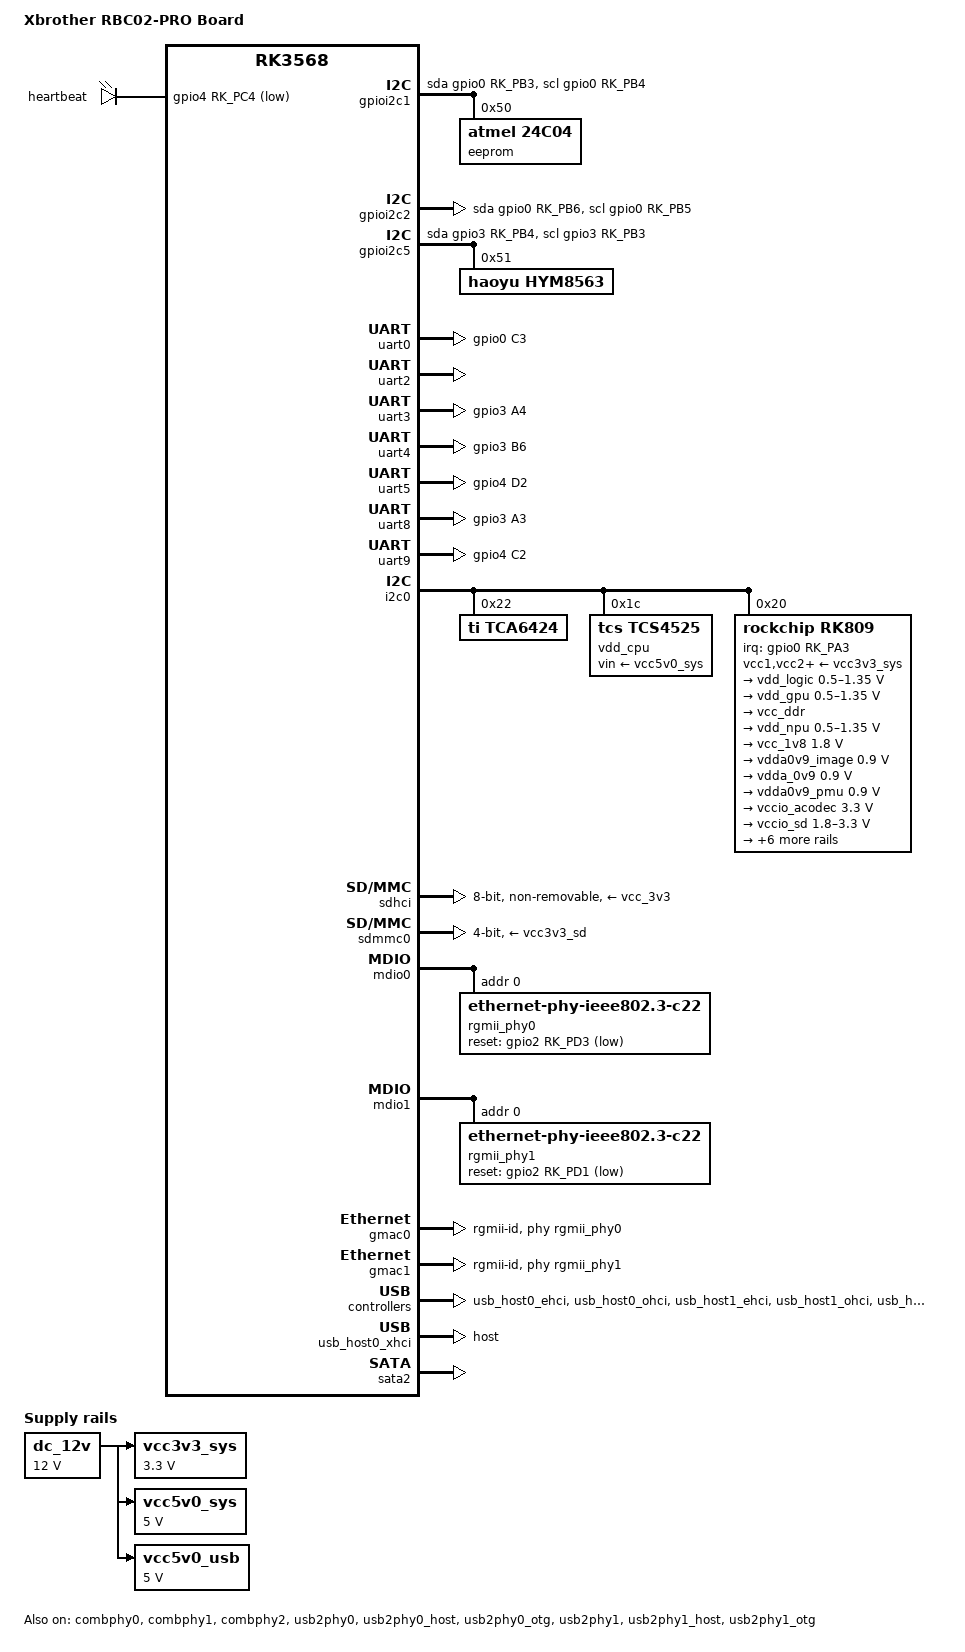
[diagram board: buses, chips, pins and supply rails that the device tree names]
// SPDX-License-Identifier: (GPL-2.0+ OR MIT)
/*
 * Copyright (c) 2021 Rockchip Electronics Co., Ltd.
 *
 */

/dts-v1/;
#include <dt-bindings/gpio/gpio.h>
#include <dt-bindings/leds/common.h>
#include <dt-bindings/pinctrl/rockchip.h>
#include <dt-bindings/soc/rockchip,vop2.h>
#include "rk3568.dtsi"

/ {
	model = "Xbrother RBC02-PRO Board";
	compatible = "xbrother,rbc02-pro", "rockchip,rk3568";

	aliases {
		/delete-property/ serial0;
		/delete-property/ serial1;
		/delete-property/ serial2;
		/delete-property/ serial3;
		/delete-property/ serial4;
		/delete-property/ serial5;
		/delete-property/ serial6;
		/delete-property/ serial7;
		/delete-property/ serial8;
		/delete-property/ serial9;
		/delete-property/ i2c1;
		/delete-property/ i2c2;
		/delete-property/ i2c3;
		/delete-property/ i2c4;
		/delete-property/ i2c5;
		/delete-property/ spi0;
		/delete-property/ spi1;
		/delete-property/ spi2;
		/delete-property/ spi3;
		serial0 = &uart2;
		serial1 = &uart0;
		serial2 = &uart3;
		serial3 = &uart4;
		serial4 = &uart5;
		serial5 = &uart8;
		serial6 = &uart9;
		ethernet0 = &gmac1;
		ethernet1 = &gmac0;
		mmc0 = &sdhci;
		mmc1 = &sdmmc0;
		usb1 = &usb_host0_ehci;
		usb2 = &usb_host1_ehci;
		usb3 = &usb_host0_ohci;
		usb4 = &usb_host1_ohci;
		usb7 = &usb_host0_xhci;
		usb5 = &usb_host1_xhci;
		i2c1 = &gpioi2c1;
		i2c2 = &gpioi2c2;
		i2c5 = &gpioi2c5;
	};

	chosen: chosen {
		stdout-path = "serial0:115200n8";
	};

	dc_12v: dc-12v {
		compatible = "regulator-fixed";
		regulator-name = "dc_12v";
		regulator-always-on;
		regulator-boot-on;
		regulator-min-microvolt = <12000000>;
		regulator-max-microvolt = <12000000>;
	};

	leds {
		compatible = "gpio-leds";
		heartbeat: heartbeat {
			label = "heartbeat";
			gpios = <&gpio4 RK_PC4 GPIO_ACTIVE_LOW>;
			linux,default-trigger = "heartbeat";
		};
	};

	xbrother_gpio {
		compatible = "xbrother,gpio";
		#size-cells = <0>;
		sys_name = "xbrother";
		di08 {
			label = "di08";
			gpios = <&tca6424 0 GPIO_ACTIVE_LOW>;
			direction = "input";
		};
		di07 {
			label = "di07";
			gpios = <&tca6424 1 GPIO_ACTIVE_LOW>;
			direction = "input";
		};
		di06 {
			label = "di06";
			gpios = <&tca6424 2 GPIO_ACTIVE_LOW>;
			direction = "input";
		};
		di05 {
			label = "di05";
			gpios = <&tca6424 3 GPIO_ACTIVE_LOW>;
			direction = "input";
		};
		di04 {
			label = "di04";
			gpios = <&tca6424 4 GPIO_ACTIVE_LOW>;
			direction = "input";
		};
		di03 {
			label = "di03";
			gpios = <&tca6424 5 GPIO_ACTIVE_LOW>;
			direction = "input";
		};
		di02 {
			label = "di02";
			gpios = <&tca6424 6 GPIO_ACTIVE_LOW>;
			direction = "input";
		};
		di01 {
			label = "di01";
			gpios = <&tca6424 7 GPIO_ACTIVE_LOW>;
			direction = "input";
		};
		do01 {
			label = "do01";
			gpios = <&tca6424 8 GPIO_ACTIVE_HIGH>;
			direction = "low";
		};
		do02 {
			label= "do02";
			gpios = <&tca6424 9 GPIO_ACTIVE_HIGH>;
			direction = "low";
		};
		e2wp {
			label = "e2wp";
			gpios = <&gpio1 0 GPIO_ACTIVE_HIGH>;
			direction = "high";
		};
		12va-ctl {
			label = "12va-ctl";
			gpios = <&gpio1 8 GPIO_ACTIVE_LOW>;
			direction = "low";
		};
		12vb-ctl {
			label = "12vb-ctl";
			gpios = <&gpio1 10 GPIO_ACTIVE_LOW>;
			direction = "low";
		};
		12va-det {
			label = "12va-det";
			gpios = <&gpio3 5 GPIO_ACTIVE_HIGH>;
			direction = "input";
		};
		12vb-det {
			label = "12vb-det";
			gpios = <&gpio3 6 GPIO_ACTIVE_HIGH>;
			direction = "input";
		};
		12v-det {
			label = "12v-det";
			gpios = <&gpio3 7 GPIO_ACTIVE_HIGH>;
			direction = "input";
		};
		fan {
			label = "fan";
			gpios = <&gpio0 29 GPIO_ACTIVE_HIGH>;
			direction = "low";
		};
	};

	gpioi2c1: i2c-1 {
		status = "okay";
		compatible = "i2c-gpio";
		sda-gpios = <&gpio0 RK_PB3 GPIO_ACTIVE_HIGH>;
		scl-gpios = <&gpio0 RK_PB4 GPIO_ACTIVE_HIGH >;
		pinctrl-names = "default";
		pinctrl-0 = <&i2c1_xfer>;
		i2c-gpio,delay-us = <5>;	/* ~100 kHz */
		#address-cells = <1>;
		#size-cells = <0>;

		eeprom@50 {
			compatible = "atmel,24c04";
			reg = <0x50>;
			pagesize = <16>;
		};
	};

	gpioi2c2: i2c-2 {
		status = "okay";
		compatible = "i2c-gpio";
		sda-gpios = <&gpio0 RK_PB6 GPIO_ACTIVE_HIGH>;
		scl-gpios = <&gpio0 RK_PB5 GPIO_ACTIVE_HIGH>;
		pinctrl-names = "default";
		pinctrl-0 = <&i2c2m0_xfer>;
		i2c-gpio,delay-us = <5>;	/* ~100 kHz */
		#address-cells = <1>;
		#size-cells = <0>;
	};

	gpioi2c5: i2c-5 {
		status = "okay";
		compatible = "i2c-gpio";
		sda-gpios = <&gpio3 RK_PB4 GPIO_ACTIVE_HIGH>;
		scl-gpios = <&gpio3 RK_PB3 GPIO_ACTIVE_HIGH>;
		pinctrl-names = "default";
		pinctrl-0 = <&i2c5m0_xfer>;
		i2c-gpio,delay-us = <5>;	/* ~100 kHz */
		#address-cells = <1>;
		#size-cells = <0>;
		hym8563: hym8563@51 {
			compatible = "haoyu,hym8563";
			reg = <0x51>;
		};
	};

	vcc3v3_sys: vcc3v3-sys {
		compatible = "regulator-fixed";
		regulator-name = "vcc3v3_sys";
		regulator-always-on;
		regulator-boot-on;
		regulator-min-microvolt = <3300000>;
		regulator-max-microvolt = <3300000>;
		vin-supply = <&dc_12v>;
	};

	vcc5v0_sys: vcc5v0-sys {
		compatible = "regulator-fixed";
		regulator-name = "vcc5v0_sys";
		regulator-always-on;
		regulator-boot-on;
		regulator-min-microvolt = <5000000>;
		regulator-max-microvolt = <5000000>;
		vin-supply = <&dc_12v>;
	};

	vcc5v0_usb: vcc5v0-usb {
		compatible = "regulator-fixed";
		regulator-name = "vcc5v0_usb";
		regulator-always-on;
		regulator-boot-on;
		regulator-min-microvolt = <5000000>;
		regulator-max-microvolt = <5000000>;
		vin-supply = <&dc_12v>;
	};

	
};


/delete-node/ &pdm;
/delete-node/ &spdif;
/delete-node/ &i2c3;
/delete-node/ &i2c4;
/delete-node/ &sfc;
/delete-node/ &i2s0_8ch;
/delete-node/ &i2s1_8ch;
/delete-node/ &i2s2_2ch;
/delete-node/ &i2s3_2ch;
/delete-node/ &spi0;
/delete-node/ &spi1;
/delete-node/ &spi2;
/delete-node/ &spi3;
/delete-node/ &can0;
/delete-node/ &can1;
/delete-node/ &can2;
/delete-node/ &hdmi_sound;
/delete-node/ &hdmi;
/delete-node/ &pcie2x1;
/delete-node/ &pcie3x1;
/delete-node/ &pcie3x2;
/delete-node/ &pwm0;
/delete-node/ &pwm1;
/delete-node/ &pwm2;
/delete-node/ &pwm3;
/delete-node/ &pwm4;
/delete-node/ &pwm5;
/delete-node/ &pwm6;
/delete-node/ &pwm7;
/delete-node/ &pwm8;
/delete-node/ &pwm9;
/delete-node/ &pwm10;
/delete-node/ &pwm11;
/delete-node/ &pwm12;
/delete-node/ &pwm13;
/delete-node/ &pwm14;
/delete-node/ &pwm15;


&scmi {
	status = "disabled";
};


&cpu0 {
	cpu-supply = <&vdd_cpu>;
};

&cpu1 {
	cpu-supply = <&vdd_cpu>;
};

&cpu2 {
	cpu-supply = <&vdd_cpu>;
};

&cpu3 {
	cpu-supply = <&vdd_cpu>;
};

&uart0 {
	status = "okay";
	pinctrl-0 = <&uart0_xfer &com1_de>;
	rs485-term-gpios = <&gpio0 RK_PC3 GPIO_ACTIVE_HIGH>;
	rs485-rx-during-tx;
	linux,rs485-enabled-at-boot-time;
};

&uart2 {
	status = "okay";
};

&uart3 {
	status = "okay";
	pinctrl-0 = <&uart3m1_xfer &com2_de>;
	rs485-term-gpios = <&gpio3 RK_PA4 GPIO_ACTIVE_HIGH>;
	rs485-rx-during-tx;
	linux,rs485-enabled-at-boot-time;
};

&uart4 {
	status = "okay";
	pinctrl-0 = <&uart4m1_xfer &com3_de>;
	rs485-term-gpios = <&gpio3 RK_PB6 GPIO_ACTIVE_HIGH>;
	rs485-rx-during-tx;
	linux,rs485-enabled-at-boot-time;
};

&uart5 {
	status = "okay";
	pinctrl-0 = <&uart5m1_xfer &com4_de>;
	rs485-term-gpios = <&gpio4 RK_PD2 GPIO_ACTIVE_HIGH>;
	rs485-rx-during-tx;
	linux,rs485-enabled-at-boot-time;
};

&uart8 {
	status = "okay";
	pinctrl-0 = <&uart8m1_xfer &com5_de>;
	rs485-term-gpios = <&gpio3 RK_PA3 GPIO_ACTIVE_HIGH>;
	rs485-rx-during-tx;
	linux,rs485-enabled-at-boot-time;
};

&uart9 {
	status = "okay";
	pinctrl-0 = <&uart9m1_xfer &com6_de>;
	rs485-term-gpios = <&gpio4 RK_PC2 GPIO_ACTIVE_HIGH>;
	rs485-rx-during-tx;
	linux,rs485-enabled-at-boot-time;
};



&i2c0 {
	status = "okay";

	tca6424: gpio@22 {
		compatible = "ti,tca6424";
		reg = <0x22>;
		gpio-controller;
		#gpio-cells = <2>;
	};

	vdd_cpu: regulator@1c {
		compatible = "tcs,tcs4525";
		reg = <0x1c>;
		fcs,suspend-voltage-selector = <1>;
		regulator-name = "vdd_cpu";
		regulator-always-on;
		regulator-boot-on;
		regulator-min-microvolt = <800000>;
		regulator-max-microvolt = <1150000>;
		regulator-ramp-delay = <2300>;
		vin-supply = <&vcc5v0_sys>;

		regulator-state-mem {
			regulator-off-in-suspend;
		};
	};

	rk809: pmic@20 {
		compatible = "rockchip,rk809";
		reg = <0x20>;
		interrupt-parent = <&gpio0>;
		interrupts = <RK_PA3 IRQ_TYPE_LEVEL_LOW>;
		#clock-cells = <1>;
		pinctrl-names = "default";
		pinctrl-0 = <&pmic_int>;
		rockchip,system-power-controller;
		vcc1-supply = <&vcc3v3_sys>;
		vcc2-supply = <&vcc3v3_sys>;
		vcc3-supply = <&vcc3v3_sys>;
		vcc4-supply = <&vcc3v3_sys>;
		vcc5-supply = <&vcc3v3_sys>;
		vcc6-supply = <&vcc3v3_sys>;
		vcc7-supply = <&vcc3v3_sys>;
		vcc8-supply = <&vcc3v3_sys>;
		vcc9-supply = <&vcc3v3_sys>;
		wakeup-source;

		regulators {
			vdd_logic: DCDC_REG1 {
				regulator-name = "vdd_logic";
				regulator-always-on;
				regulator-boot-on;
				regulator-initial-mode = <0x2>;
				regulator-min-microvolt = <500000>;
				regulator-max-microvolt = <1350000>;
				regulator-ramp-delay = <6001>;

				regulator-state-mem {
					regulator-off-in-suspend;
				};
			};

			vdd_gpu: DCDC_REG2 {
				regulator-name = "vdd_gpu";
				regulator-always-on;
				regulator-initial-mode = <0x2>;
				regulator-min-microvolt = <500000>;
				regulator-max-microvolt = <1350000>;
				regulator-ramp-delay = <6001>;

				regulator-state-mem {
					regulator-off-in-suspend;
				};
			};

			vcc_ddr: DCDC_REG3 {
				regulator-name = "vcc_ddr";
				regulator-always-on;
				regulator-boot-on;
				regulator-initial-mode = <0x2>;

				regulator-state-mem {
					regulator-on-in-suspend;
				};
			};

			vdd_npu: DCDC_REG4 {
				regulator-name = "vdd_npu";
				regulator-initial-mode = <0x2>;
				regulator-min-microvolt = <500000>;
				regulator-max-microvolt = <1350000>;
				regulator-ramp-delay = <6001>;

				regulator-state-mem {
					regulator-off-in-suspend;
				};
			};

			vcc_1v8: DCDC_REG5 {
				regulator-name = "vcc_1v8";
				regulator-always-on;
				regulator-boot-on;
				regulator-min-microvolt = <1800000>;
				regulator-max-microvolt = <1800000>;

				regulator-state-mem {
					regulator-off-in-suspend;
				};
			};

			vdda0v9_image: LDO_REG1 {
				regulator-name = "vdda0v9_image";
				regulator-min-microvolt = <900000>;
				regulator-max-microvolt = <900000>;

				regulator-state-mem {
					regulator-off-in-suspend;
				};
			};

			vdda_0v9: LDO_REG2 {
				regulator-name = "vdda_0v9";
				regulator-always-on;
				regulator-boot-on;
				regulator-min-microvolt = <900000>;
				regulator-max-microvolt = <900000>;

				regulator-state-mem {
					regulator-off-in-suspend;
				};
			};

			vdda0v9_pmu: LDO_REG3 {
				regulator-name = "vdda0v9_pmu";
				regulator-always-on;
				regulator-boot-on;
				regulator-min-microvolt = <900000>;
				regulator-max-microvolt = <900000>;

				regulator-state-mem {
					regulator-on-in-suspend;
					regulator-suspend-microvolt = <900000>;
				};
			};

			vccio_acodec: LDO_REG4 {
				regulator-name = "vccio_acodec";
				regulator-always-on;
				regulator-min-microvolt = <3300000>;
				regulator-max-microvolt = <3300000>;

				regulator-state-mem {
					regulator-off-in-suspend;
				};
			};

			vccio_sd: LDO_REG5 {
				regulator-name = "vccio_sd";
				regulator-min-microvolt = <1800000>;
				regulator-max-microvolt = <3300000>;

				regulator-state-mem {
					regulator-off-in-suspend;
				};
			};

			vcc3v3_pmu: LDO_REG6 {
				regulator-name = "vcc3v3_pmu";
				regulator-always-on;
				regulator-boot-on;
				regulator-min-microvolt = <3300000>;
				regulator-max-microvolt = <3300000>;

				regulator-state-mem {
					regulator-on-in-suspend;
					regulator-suspend-microvolt = <3300000>;
				};
			};

			vcca_1v8: LDO_REG7 {
				regulator-name = "vcca_1v8";
				regulator-always-on;
				regulator-boot-on;
				regulator-min-microvolt = <1800000>;
				regulator-max-microvolt = <1800000>;

				regulator-state-mem {
					regulator-off-in-suspend;
				};
			};

			vcca1v8_pmu: LDO_REG8 {
				regulator-name = "vcca1v8_pmu";
				regulator-always-on;
				regulator-boot-on;
				regulator-min-microvolt = <1800000>;
				regulator-max-microvolt = <1800000>;

				regulator-state-mem {
					regulator-on-in-suspend;
					regulator-suspend-microvolt = <1800000>;
				};
			};

			vcca1v8_image: LDO_REG9 {
				regulator-name = "vcca1v8_image";
				regulator-min-microvolt = <1800000>;
				regulator-max-microvolt = <1800000>;

				regulator-state-mem {
					regulator-off-in-suspend;
				};
			};

			vcc_3v3: SWITCH_REG1 {
				regulator-name = "vcc_3v3";
				regulator-always-on;
				regulator-boot-on;

				regulator-state-mem {
					regulator-off-in-suspend;
				};
			};

			vcc3v3_sd: SWITCH_REG2 {
				regulator-name = "vcc3v3_sd";
				regulator-always-on;
				regulator-boot-on;
				regulator-state-mem {
					regulator-off-in-suspend;
				};
			};
		};

		
	};
};

&i2c1_xfer {
	rockchip,pins =
		/* i2c1_scl */
		<0 RK_PB3 RK_FUNC_GPIO &pcfg_pull_up_drv_level_15>,
		/* i2c1_sda */
		<0 RK_PB4 RK_FUNC_GPIO &pcfg_pull_up_drv_level_15>;
};


&i2c2m0_xfer {
	rockchip,pins =
		/* i2c1_scl */
		<0 RK_PB5 RK_FUNC_GPIO &pcfg_pull_up_drv_level_15>,
		/* i2c1_sda */
		<0 RK_PB6 RK_FUNC_GPIO &pcfg_pull_up_drv_level_15>;
};


&i2c5m0_xfer {
	rockchip,pins =
		/* i2c5_scl */
		<3 RK_PB3 RK_FUNC_GPIO &pcfg_pull_up_drv_level_15>,
		/* i2c5_sda */
		<3 RK_PB4 RK_FUNC_GPIO &pcfg_pull_up_drv_level_15>;
};

&pinctrl {
	led {
		led_heartbeat: led-heartbeat {
			rockchip,pins = <4 RK_PC4 RK_FUNC_GPIO &pcfg_pull_up>;
		};
	};
	pmic {
		pmic_int: pmic-int {
			rockchip,pins = <0 RK_PA3 RK_FUNC_GPIO &pcfg_pull_up>;
		};
	};
	rs485 {
		com1_de: com1_de {
			rockchip,pins = <0 RK_PC3 RK_FUNC_GPIO &pcfg_pull_up>;
		};
		com2_de: com2_de {
			rockchip,pins = <3 RK_PA4 RK_FUNC_GPIO &pcfg_pull_up>;
		};
		com3_de: com3_de {
			rockchip,pins = <3 RK_PB6 RK_FUNC_GPIO &pcfg_pull_up>;
		};
		com4_de: com4_de {
			rockchip,pins = <4 RK_PD2 RK_FUNC_GPIO &pcfg_pull_up>;
		};
		com5_de: com5_de {
			rockchip,pins = <3 RK_PA3 RK_FUNC_GPIO &pcfg_pull_up>;
		};
		com6_de: com6_de {
			rockchip,pins = <4 RK_PC2 RK_FUNC_GPIO &pcfg_pull_up>;
		};
	};

};

&pmu_io_domains {
	pmuio1-supply = <&vcc3v3_pmu>;
	pmuio2-supply = <&vcc3v3_pmu>;
	vccio1-supply = <&vccio_acodec>;
	vccio2-supply = <&vcc_1v8>;
	vccio3-supply = <&vccio_sd>;
	vccio4-supply = <&vcc_1v8>;
	vccio5-supply = <&vcc_3v3>;
	vccio6-supply = <&vcc_1v8>;
	vccio7-supply = <&vcc_3v3>;
	status = "okay";
};

&sdhci {
	bus-width = <8>;
	max-frequency = <200000000>;
	non-removable;
	cap-mmc-highspeed;
	mmc-hs200-1_8v;
	pinctrl-names = "default";
	pinctrl-0 = <&emmc_bus8 &emmc_clk &emmc_cmd &emmc_datastrobe>;
	vmmc-supply = <&vcc_3v3>;
	vqmmc-supply = <&vcc_1v8>;
	status = "okay";
};

&sdmmc0 {
	bus-width = <4>;
	cap-sd-highspeed;
	cap-mmc-highspeed;
	no-sdio;
	no-mmc;
	broken-cd;
	disable-wp;
	sd-uhs-sdr104;
	pinctrl-names = "default";
	pinctrl-0 = <&sdmmc0_bus4 &sdmmc0_clk &sdmmc0_cmd>;
	vmmc-supply = <&vcc3v3_sd>;
	vqmmc-supply = <&vccio_sd>;
	status = "okay";
};




&mdio0 {
	rgmii_phy0: ethernet-phy@0 {
		max-speed = <100>;
		compatible = "ethernet-phy-ieee802.3-c22";
		reg = <0x0>;
		reset-assert-us = <20000>;
		reset-deassert-us = <100000>;
		reset-gpios = <&gpio2 RK_PD3 GPIO_ACTIVE_LOW>;
	};
};

&mdio1 {
	rgmii_phy1: ethernet-phy@0 {
		compatible = "ethernet-phy-ieee802.3-c22";
		reg = <0x0>;
		reset-assert-us = <20000>;
		reset-deassert-us = <100000>;
		reset-gpios = <&gpio2 RK_PD1 GPIO_ACTIVE_LOW>;
	};
};

&gmac0 {
	assigned-clocks = <&cru SCLK_GMAC0_RX_TX>, <&cru SCLK_GMAC0>;
	assigned-clock-parents = <&cru SCLK_GMAC0_RGMII_SPEED>;
	assigned-clock-rates = <0>, <125000000>;
	clock_in_out = "output";
	phy-handle = <&rgmii_phy0>;
	phy-mode = "rgmii-id";
	pinctrl-names = "default";
	pinctrl-0 = <&gmac0_miim
		     &gmac0_tx_bus2
		     &gmac0_rx_bus2
		     &gmac0_rgmii_clk
		     &gmac0_rgmii_bus>;
	tx_delay = <0x0>;
	rx_delay = <0x0>;
	status = "okay";
};

&gmac1 {
	assigned-clocks = <&cru SCLK_GMAC1_RX_TX>, <&cru SCLK_GMAC1>;
	assigned-clock-parents = <&cru SCLK_GMAC1_RGMII_SPEED>;
	assigned-clock-rates = <0>, <125000000>;
	clock_in_out = "output";
	phy-handle = <&rgmii_phy1>;
	phy-mode = "rgmii-id";
	pinctrl-names = "default";
	pinctrl-0 = <&gmac1m1_miim
		     &gmac1m1_tx_bus2
		     &gmac1m1_rx_bus2
		     &gmac1m1_rgmii_clk
		     &gmac1m1_rgmii_bus>;
	tx_delay = <0x0>;
	rx_delay = <0x0>;
	status = "okay";
};

&combphy0 {
	status = "okay";
};

&combphy1 {
	status = "okay";
};

&combphy2 {
	status = "okay";
};

&usb_host0_ehci {
	status = "okay";
};

&usb_host0_ohci {
	status = "okay";
};

&usb_host0_xhci {
	dr_mode = "host";
	extcon = <&usb2phy0>;
	status = "okay";
};

&usb_host1_ehci {
	status = "okay";
};

&usb_host1_ohci {
	status = "okay";
};

&usb_host1_xhci {
	status = "okay";
};

&usb2phy0 {
	status = "okay";
};

&usb2phy0_host {
	status = "okay";
};

&usb2phy0_otg {
	status = "okay";
};

&usb2phy1 {
	status = "okay";
};

&usb2phy1_host {
	status = "okay";
};

&usb2phy1_otg {
	status = "okay";
};


&sata2 {
	status = "okay";
};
